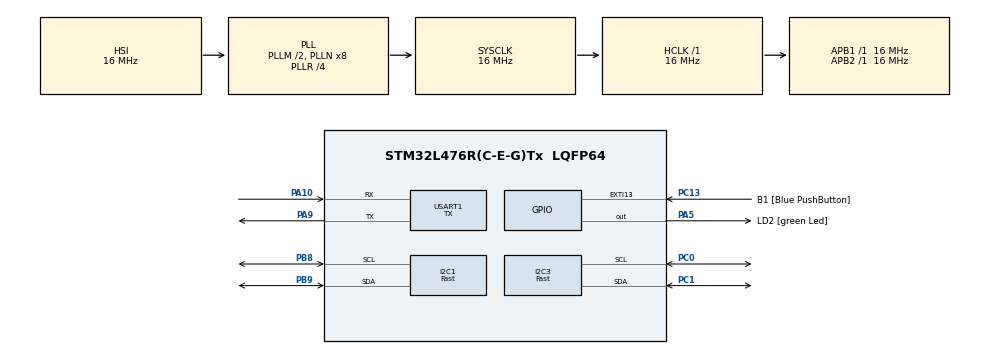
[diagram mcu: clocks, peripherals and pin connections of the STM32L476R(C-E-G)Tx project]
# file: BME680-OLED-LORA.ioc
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I2C1.I2C_Speed_Mode=I2C_Fast
I2C1.Timing=0x0010061A
I2C3.I2C_Speed_Mode=I2C_Fast
I2C3.Timing=0x0010061A
Mcu.Family=STM32L4
Mcu.Name=STM32L476R(C-E-G)Tx
Mcu.Package=LQFP64
NVIC.PriorityGroup=NVIC_PRIORITYGROUP_4
PA10.Mode=Asynchronous
PA10.Signal=USART1_RX
PA13\ (JTMS-SWDIO).GPIO_Label=TMS
PA13\ (JTMS-SWDIO).Mode=Serial_Wire
PA13\ (JTMS-SWDIO).Signal=SYS_JTMS-SWDIO
PA14\ (JTCK-SWCLK).GPIO_Label=TCK
PA14\ (JTCK-SWCLK).Mode=Serial_Wire
PA14\ (JTCK-SWCLK).Signal=SYS_JTCK-SWCLK
PA5.GPIO_Label=LD2 [green Led]
PA5.GPIO_ModeDefaultOutputPP=GPIO_MODE_OUTPUT_PP
PA5.GPIO_PuPd=GPIO_NOPULL
PA5.GPIO_Speed=GPIO_SPEED_FREQ_LOW
PA5.Signal=GPIO_Output
PA9.Mode=Asynchronous
PA9.Signal=USART1_TX
PB3\ (JTDO-TRACESWO).GPIO_Label=SWO
PB3\ (JTDO-TRACESWO).Signal=SYS_JTDO-SWO
PB8.Mode=I2C
PB8.Signal=I2C1_SCL
PB9.Mode=I2C
PB9.Signal=I2C1_SDA
PC0.Mode=I2C
PC0.Signal=I2C3_SCL
PC1.Mode=I2C
PC1.Signal=I2C3_SDA
PC13.GPIO_Label=B1 [Blue PushButton]
PC13.GPIO_ModeDefaultEXTI=GPIO_MODE_IT_FALLING
PC13.GPIO_PuPd=GPIO_NOPULL
PC13.Signal=GPXTI13
PC14-OSC32_IN\ (PC14).Mode=LSE-External-Oscillator
PC14-OSC32_IN\ (PC14).Signal=RCC_OSC32_IN
PC15-OSC32_OUT\ (PC15).Mode=LSE-External-Oscillator
PC15-OSC32_OUT\ (PC15).Signal=RCC_OSC32_OUT
PH0-OSC_IN\ (PH0).Signal=RCC_OSC_IN
PH1-OSC_OUT\ (PH1).Signal=RCC_OSC_OUT
ProjectManager.HeapSize=0x200
ProjectManager.StackSize=0x400
ProjectManager.TargetToolchain=STM32CubeIDE
RCC.ADCFreq_Value=32000000
RCC.AHBFreq_Value=16000000
RCC.APB1Freq_Value=16000000
RCC.APB1TimFreq_Value=16000000
RCC.APB2Freq_Value=16000000
RCC.APB2TimFreq_Value=16000000
RCC.CortexFreq_Value=16000000
RCC.HCLKFreq_Value=16000000
RCC.HSE_VALUE=8000000
RCC.HSI_VALUE=16000000
RCC.MSI_VALUE=4000000
RCC.PLLM=2
RCC.PLLR=RCC_PLLR_DIV4
RCC.PLLSourceVirtual=RCC_PLLSOURCE_HSI
RCC.PREFETCH_ENABLE=1
RCC.RTCClockSelection=RCC_RTCCLKSOURCE_LSE
RCC.SYSCLKFreq_VALUE=16000000
RCC.SYSCLKSource=RCC_SYSCLKSOURCE_PLLCLK
RCC.USBFreq_Value=32000000
RCC.VCOOutputFreq_Value=64000000
USART1.Mode=MODE_TX
USART1.VirtualMode-Asynchronous=VM_ASYNC
VP_RTC_VS_RTC_Activate.Mode=RTC_Enabled
VP_RTC_VS_RTC_Calendar.Mode=RTC_Calendar
board=NUCLEO-L476RG

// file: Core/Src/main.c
/* USER CODE BEGIN Header */
/**
 ******************************************************************************
 * @file           : main.c
 * @brief          : Main program body
 ******************************************************************************
 * @attention
 *
 * <h2><center>&copy; Copyright (c) 2021 STMicroelectronics.
 * All rights reserved.</center></h2>
 *
 * This software component is licensed by ST under BSD 3-Clause license,
 * the "License"; You may not use this file except in compliance with the
 * License. You may obtain a copy of the License at:
 *                        opensource.org/licenses/BSD-3-Clause
 *
 ******************************************************************************
 */
/* USER CODE END Header */
#include "main.h"
#include "i2c.h"
#include "rtc.h"
#include "usart.h"
#include "gpio.h"

/* USER CODE BEGIN Includes */
#include <stdlib.h>
#include <stdio.h>
#include "string.h"
#include "bme680.h"
#include "fonts.h"
#include "ssd1306.h"

/* USER CODE END Includes */

/* USER CODE BEGIN PTD */
struct bme680_dev gas_sensor;
struct bme680_field_data data;

/* USER CODE END PTD */

/* USER CODE BEGIN PV */
uint32_t var1 = 0;
uint32_t var2 = 0;
uint8_t set_required_settings;
int8_t rslt = 0;
uint16_t meas_period;
uint32_t ii = 0;
RTC_TimeTypeDef sTime = { 0 };
uint8_t Data[256];

// Sensor measures
float temperature;
float pressure;
float humidity;
float gas_resistance;

/* USER CODE END PV */

void SystemClock_Config(void);
/* USER CODE BEGIN PFP */

void user_delay_ms(uint32_t period);
int8_t user_i2c_read(uint8_t dev_id, uint8_t reg_addr, uint8_t *reg_data,
		uint16_t len);
int8_t user_i2c_write(uint8_t dev_id, uint8_t reg_addr, uint8_t *reg_data,
		uint16_t len);

void read_bme680(void);
void display_measures(void);
void send_measures(void);

/* USER CODE END PFP */

int main(void)
{

  /* MCU Configuration--------------------------------------------------------*/

  /* Reset of all peripherals, Initializes the Flash interface and the Systick. */
  HAL_Init();

  /* Configure the system clock */
  SystemClock_Config();

  /* Initialize all configured peripherals */
  MX_GPIO_Init();
  MX_I2C1_Init();
  MX_RTC_Init();
  MX_I2C3_Init();
  MX_USART1_UART_Init();
  /* USER CODE BEGIN 2 */

	// BME680 Init
	gas_sensor.dev_id = BME680_I2C_ADDR_PRIMARY;
	gas_sensor.intf = BME680_I2C_INTF;
	gas_sensor.read = user_i2c_read;
	gas_sensor.write = user_i2c_write;
	gas_sensor.delay_ms = user_delay_ms;
	gas_sensor.amb_temp = 25;

	/* Set the temperature, pressure and humidity settings */
	gas_sensor.tph_sett.os_hum = BME680_OS_16X;
	gas_sensor.tph_sett.os_pres = BME680_OS_16X;
	gas_sensor.tph_sett.os_temp = BME680_OS_16X;
	gas_sensor.tph_sett.filter = BME680_FILTER_SIZE_127;

	/* Set the remaining gas sensor settings and link the heating profile */
	gas_sensor.gas_sett.run_gas = BME680_ENABLE_GAS_MEAS;
	/* Create a ramp heat waveform in 3 steps */
	gas_sensor.gas_sett.heatr_temp = 320; /* degree Celsius */
	gas_sensor.gas_sett.heatr_dur = 150; /* milliseconds */

	/* Select the power mode */
	/* Must be set before writing the sensor configuration */
	gas_sensor.power_mode = BME680_FORCED_MODE;

	/* Set the required sensor settings needed */
	set_required_settings = BME680_OST_SEL | BME680_OSP_SEL | BME680_OSH_SEL
			| BME680_FILTER_SEL | BME680_GAS_SENSOR_SEL;

	rslt = bme680_init(&gas_sensor);

	/* Set the desired sensor configuration */

	rslt = bme680_set_sensor_settings(set_required_settings, &gas_sensor);

	/* Set the power mode */

	rslt = bme680_set_sensor_mode(&gas_sensor);

	bme680_get_profile_dur(&meas_period, &gas_sensor);

	// OLED Init
	ssd1306_Init();
	ssd1306_Fill(White);
	ssd1306_UpdateScreen();
	ssd1306_SetCursor(16, 4);
	HAL_Delay(1000);

  /* USER CODE END 2 */

  /* Infinite loop */
  /* USER CODE BEGIN WHILE */

	while (1) {
		read_bme680();
		display_measures();
		send_measures();
		HAL_Delay(10000);

    /* USER CODE END WHILE */

	}
}

void SystemClock_Config(void)
{
  RCC_OscInitTypeDef RCC_OscInitStruct = {0};
  RCC_ClkInitTypeDef RCC_ClkInitStruct = {0};
  RCC_PeriphCLKInitTypeDef PeriphClkInit = {0};

  /** Configure LSE Drive Capability
  */
  HAL_PWR_EnableBkUpAccess();
  __HAL_RCC_LSEDRIVE_CONFIG(RCC_LSEDRIVE_LOW);
  /** Initializes the RCC Oscillators according to the specified parameters
  * in the RCC_OscInitTypeDef structure.
  */
  RCC_OscInitStruct.OscillatorType = RCC_OSCILLATORTYPE_HSI|RCC_OSCILLATORTYPE_LSE;
  RCC_OscInitStruct.LSEState = RCC_LSE_ON;
  RCC_OscInitStruct.HSIState = RCC_HSI_ON;
  RCC_OscInitStruct.HSICalibrationValue = RCC_HSICALIBRATION_DEFAULT;
  RCC_OscInitStruct.PLL.PLLState = RCC_PLL_ON;
  RCC_OscInitStruct.PLL.PLLSource = RCC_PLLSOURCE_HSI;
  RCC_OscInitStruct.PLL.PLLM = 2;
  RCC_OscInitStruct.PLL.PLLN = 8;
  RCC_OscInitStruct.PLL.PLLP = RCC_PLLP_DIV7;
  RCC_OscInitStruct.PLL.PLLQ = RCC_PLLQ_DIV2;
  RCC_OscInitStruct.PLL.PLLR = RCC_PLLR_DIV4;
  if (HAL_RCC_OscConfig(&RCC_OscInitStruct) != HAL_OK)
  {
    Error_Handler();
  }
  /** Initializes the CPU, AHB and APB buses clocks
  */
  RCC_ClkInitStruct.ClockType = RCC_CLOCKTYPE_HCLK|RCC_CLOCKTYPE_SYSCLK
                              |RCC_CLOCKTYPE_PCLK1|RCC_CLOCKTYPE_PCLK2;
  RCC_ClkInitStruct.SYSCLKSource = RCC_SYSCLKSOURCE_PLLCLK;
  RCC_ClkInitStruct.AHBCLKDivider = RCC_SYSCLK_DIV1;
  RCC_ClkInitStruct.APB1CLKDivider = RCC_HCLK_DIV1;
  RCC_ClkInitStruct.APB2CLKDivider = RCC_HCLK_DIV1;

  if (HAL_RCC_ClockConfig(&RCC_ClkInitStruct, FLASH_LATENCY_0) != HAL_OK)
  {
    Error_Handler();
  }
  PeriphClkInit.PeriphClockSelection = RCC_PERIPHCLK_RTC|RCC_PERIPHCLK_USART1
                              |RCC_PERIPHCLK_I2C1|RCC_PERIPHCLK_I2C3;
  PeriphClkInit.Usart1ClockSelection = RCC_USART1CLKSOURCE_PCLK2;
  PeriphClkInit.I2c1ClockSelection = RCC_I2C1CLKSOURCE_PCLK1;
  PeriphClkInit.I2c3ClockSelection = RCC_I2C3CLKSOURCE_PCLK1;
  PeriphClkInit.RTCClockSelection = RCC_RTCCLKSOURCE_LSE;
  if (HAL_RCCEx_PeriphCLKConfig(&PeriphClkInit) != HAL_OK)
  {
    Error_Handler();
  }
  /** Configure the main internal regulator output voltage
  */
  if (HAL_PWREx_ControlVoltageScaling(PWR_REGULATOR_VOLTAGE_SCALE1) != HAL_OK)
  {
    Error_Handler();
  }
}

/* USER CODE BEGIN 4 */

void user_delay_ms(uint32_t period) {
	HAL_Delay(period);
}

int8_t user_i2c_read(uint8_t dev_id, uint8_t reg_addr, uint8_t *reg_data,
		uint16_t len) {
	int8_t rslt = 0;
	HAL_StatusTypeDef status = HAL_OK;
	status = HAL_I2C_Mem_Read(&hi2c1, dev_id, reg_addr, I2C_MEMADD_SIZE_8BIT,
			(uint8_t*) reg_data, len, 0x10000);
	if (status != HAL_OK)
		rslt = -3;
	return rslt;
}

int8_t user_i2c_write(uint8_t dev_id, uint8_t reg_addr, uint8_t *reg_data,
		uint16_t len) {
	int8_t rslt = 0;
	HAL_StatusTypeDef status = HAL_OK;
	status = HAL_I2C_Mem_Write(&hi2c1, dev_id, reg_addr, I2C_MEMADD_SIZE_8BIT,
			(uint8_t*) reg_data, len, 0x10000);
	if (status != HAL_OK)
		rslt = -3;
	return rslt;
}

void read_bme680(void) {

	user_delay_ms(meas_period);
	rslt = bme680_get_sensor_data(&data, &gas_sensor);

	/* Take measures */
	temperature = data.temperature / 100.0f;
	pressure = data.pressure / 100.0f;
	humidity = data.humidity / 100.0f;

	if (data.status & BME680_GASM_VALID_MSK) {
		gas_resistance = data.gas_resistance / 1000.0f;
	}

	/*  Trigger the next measurement if you would like to read data out continuously*/
	if (gas_sensor.power_mode == BME680_FORCED_MODE) {
		rslt = bme680_set_sensor_mode(&gas_sensor);
	}
}

void display_measures(void) {
	char SSDVis_Buff[30];

	ssd1306_SetCursor(6, 6);
	sprintf(SSDVis_Buff, "BME680 over LoRa", temperature);
	ssd1306_WriteString(SSDVis_Buff, Font_7x10, Black);

	ssd1306_SetCursor(6, 20);
	sprintf(SSDVis_Buff, "T:%4.2f C ", temperature);
	ssd1306_WriteString(SSDVis_Buff, Font_7x10, Black);

	ssd1306_SetCursor(6, 30);
	sprintf(SSDVis_Buff, "H:%4.2f rH ", humidity);
	ssd1306_WriteString(SSDVis_Buff, Font_7x10, Black);

	ssd1306_SetCursor(6, 40);
	sprintf(SSDVis_Buff, "P:%4.2f hPa ", pressure);
	ssd1306_WriteString(SSDVis_Buff, Font_7x10, Black);

	ssd1306_SetCursor(6, 50);
	sprintf(SSDVis_Buff, "G:%4.2f Kohms ", gas_resistance);
	ssd1306_WriteString(SSDVis_Buff, Font_7x10, Black);
	ssd1306_UpdateScreen();
	ssd1306_Fill(White);
}

void send_measures(void){
	uint8_t measures[30];
	sprintf(measures, "%2.2f %4.2f %4.2f %4.2f", temperature, humidity, pressure, gas_resistance);
	HAL_UART_Transmit(&huart1, measures, sizeof(measures), 10); // Sending in normal mode
}

/* USER CODE END 4 */

void Error_Handler(void)
{
	__disable_irq();
	while (1) {
	}
}

/************************ (C) COPYRIGHT STMicroelectronics *****END OF FILE****/
